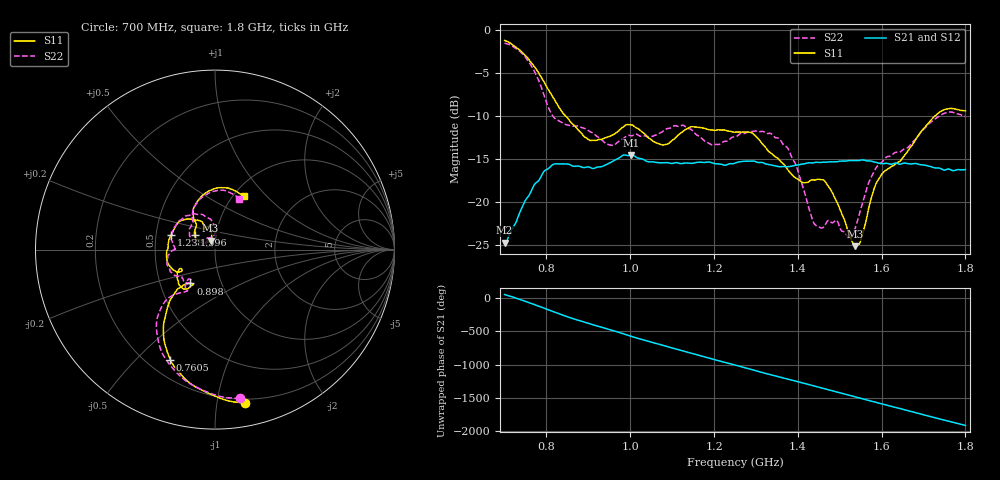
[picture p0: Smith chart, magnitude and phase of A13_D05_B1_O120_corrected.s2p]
! Created with skrf 1.9.0 (http://scikit-rf.org).
# Hz S RI R 50.0
!freq ReS11 ImS11 ReS21 ImS21 ReS12 ImS12 ReS22 ImS22
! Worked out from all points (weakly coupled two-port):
!   1601 points, 700 MHz to 1.8 GHz, reference 50 ohm
!   highest |S21| = -14.52 dB at 1.002 GHz (marker M1); lowest = -24.7 dB at 700 MHz (marker M2)
!   lowest |S11| = -25.1 dB at 1.537 GHz (marker M3), VSWR 1.12, Z = 47.4 + j4.7 ohm
!   |S11| at or under -10 dB: 845.9 MHz to 1.727 GHz (881.3 MHz wide, 68.5 % of centre)
!   |S22| runs from -24.3 to -1.5 dB; largest |S21 - S12| = 0.0035
!   S11 on the Smith chart (normalised r, x): 700 MHz: 0.17, -1.20; 760.5 MHz: 0.29, -0.63; 898 MHz: 0.71, -0.28; 1.238 GHz: 0.60, +0.10; 1.596 GHz: 0.79, +0.13; 1.8 GHz: 1.12, +0.75
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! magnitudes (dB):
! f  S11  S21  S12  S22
! 700 MHz  -1.2  -24.7  -24.5  -1.5
! 760.5 MHz  -3.6  -19.0  -18.9  -3.9
! 816.9 MHz  -7.9  -15.6  -15.7  -10.1
! 883.6 MHz  -12.0  -15.9  -15.8  -11.3
! 898 MHz  -12.7  -15.9  -16.0  -11.6
! 953.7 MHz  -12.3  -15.4  -15.4  -13.4
! 1.002 GHz  -11.0  -14.5  -14.6  -12.3
! 1.067 GHz  -13.2  -15.4  -15.4  -12.1
! 1.145 GHz  -11.2  -15.5  -15.5  -11.6
! 1.238 GHz  -11.8  -15.5  -15.7  -12.7
! 1.25 GHz  -11.9  -15.5  -15.4  -12.4
! 1.357 GHz  -15.2  -15.9  -15.8  -12.7
! 1.395 GHz  -17.2  -15.7  -15.7  -15.7
! 1.434 GHz  -17.4  -15.5  -15.4  -21.9
! 1.476 GHz  -18.4  -15.3  -15.3  -22.2
! 1.522 GHz  -23.8  -15.2  -15.2  -24.3
! 1.537 GHz  -25.1  -15.2  -15.2  -23.1
! 1.55 GHz  -24.5  -15.1  -15.2  -20.8
! 1.596 GHz  -17.1  -15.5  -15.5  -15.6
! 1.617 GHz  -16.1  -15.6  -15.5  -14.7
! 1.735 GHz  -9.7  -16.0  -16.1  -10.1
! 1.8 GHz  -9.4  -16.2  -16.2  -10.1
